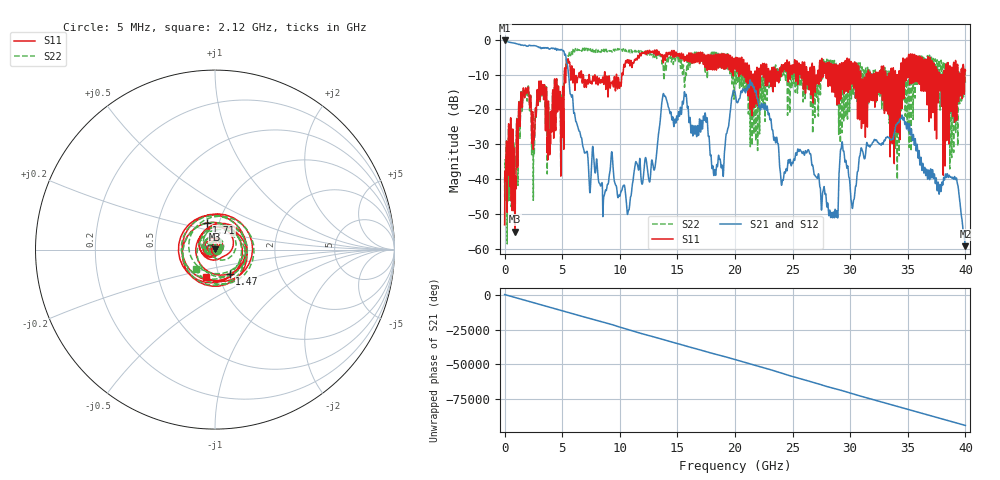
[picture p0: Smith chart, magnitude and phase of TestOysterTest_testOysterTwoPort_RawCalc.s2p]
# MHz MA S R 50.0
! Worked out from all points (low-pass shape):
!   8000 points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, 5 MHz to 40 GHz, reference 50 ohm
!   highest |S21| = -0.17 dB at 5 MHz (marker M1); lowest = -59.3 dB at 40 GHz (marker M2)
!   |S21| within 3 dB of the highest: start of sweep to 5.132 GHz
!   lowest |S11| = -55.1 dB at 920 MHz (marker M3), VSWR 1.00, Z = 50 + j0.175 ohm
!   |S11| at or under -10 dB: start of sweep to 5.19 GHz; 7.351 GHz to 8.667 GHz (1.316 GHz wide, 16.4 % of centre); 8.733 GHz to 9.702 GHz (969 MHz wide, 10.5 % of centre) (the widest 3 of 120)
!   |S22| runs from -58.6 to -2.4 dB; largest |S21 - S12| = 0.0016
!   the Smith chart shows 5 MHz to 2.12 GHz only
!   S11 on the Smith chart (normalised r, x): 5 MHz: 1.00, +0.00; 1.47 GHz: 1.13, -0.31; 1.71 GHz: 0.87, +0.27; 2.12 GHz: 0.86, -0.27
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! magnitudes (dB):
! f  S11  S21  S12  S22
! 5 MHz  -53.1  -0.2  -0.2  -39.5
! 920 MHz  -55.1  -1.0  -1.0  -37.7
! 1.47 GHz  -16.0  -1.5  -1.5  -16.3
! 1.71 GHz  -16.2  -1.6  -1.6  -16.5
! 2.12 GHz  -15.8  -1.5  -1.5  -16.3
! 2.515 GHz  -28.8  -1.6  -1.6  -30.7
! 5.13 GHz  -26.3  -3.2  -3.2  -15.8
! 6.675 GHz  -9.2  -28.1  -28.1  -3.1
! 10.73 GHz  -6.7  -49.1  -49.1  -3.4
! 13.34 GHz  -3.9  -27.7  -27.7  -4.3
! 15.63 GHz  -5.7  -15.1  -15.1  -13.4
! 18.3 GHz  -4.1  -38.7  -38.7  -4.9
! 20 GHz  -8.4  -15.0  -15.0  -7.4
! 22.79 GHz  -9.6  -19.0  -19.0  -17.4
! 24.09 GHz  -7.9  -40.9  -40.9  -10.4
! 26.67 GHz  -7.7  -35.9  -35.9  -8.3
! 28.75 GHz  -9.7  -50.5  -50.5  -7.2
! 29.3 GHz  -8.7  -29.3  -29.3  -24.4
! 30.21 GHz  -6.8  -48.2  -48.2  -9.3
! 33.34 GHz  -13.4  -28.1  -28.1  -9.6
! 39.13 GHz  -6.3  -40.1  -40.1  -13.3
! 40 GHz  -8.8  -59.3  -59.3  -12.2
